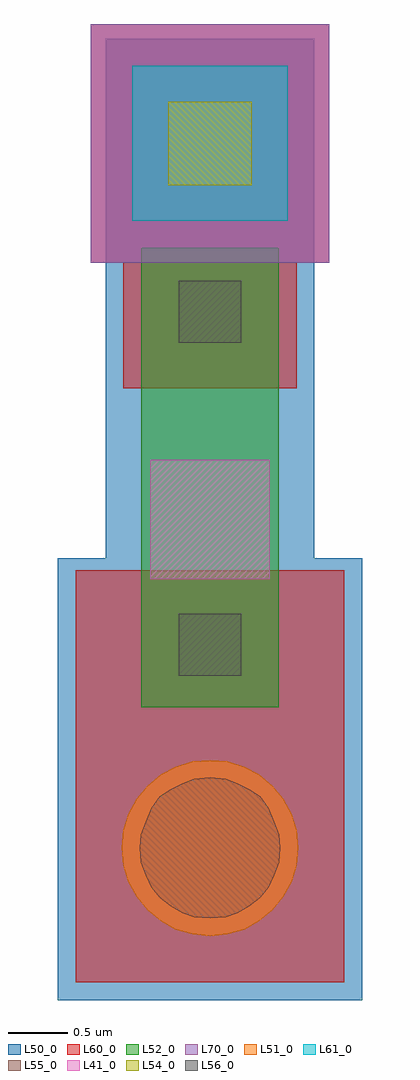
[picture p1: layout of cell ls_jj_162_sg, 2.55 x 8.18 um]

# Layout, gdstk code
import gdstk
lib = gdstk.Library(unit=1e-6, precision=1e-09)
def R(c, l, rs):  # rectangles x0, y0, x1, y1
    for r in rs: c.add(gdstk.rectangle(r[:2], r[2:], *l))
def P(c, l, *ps):  # polygons
    for p in ps: c.add(gdstk.Polygon(p, *l))
L41_0 = (41, 0)
L50_0 = (50, 0)
L51_0 = (51, 0)
L52_0 = (52, 0)
L54_0 = (54, 0)
L55_0 = (55, 0)
L56_0 = (56, 0)
L60_0 = (60, 0)
L61_0 = (61, 0)
L70_0 = (70, 0)

ls_conn_m5m6m7 = lib.new_cell('ls_conn_M5M6M7')
R(ls_conn_m5m6m7, L50_0, [(-0.5,-0.5,1.2,1.2)])
R(ls_conn_m5m6m7, L54_0, [(0,0,0.7,0.7)])
R(ls_conn_m5m6m7, L60_0, [(-0.65,-0.65,1.35,1.35)])
R(ls_conn_m5m6m7, L61_0, [(-0.3,-0.3,1,1)])
R(ls_conn_m5m6m7, L70_0, [(-0.65,-0.65,1.35,1.35)])

ls_jj_162_sg = lib.new_cell('ls_jj_162_sg')
R(ls_jj_162_sg, L41_0, [(-0.5,2.25,0.5,3.25)])
R(ls_jj_162_sg, L50_0, [(-1.275,-1.275,1.275,2.425), (-0.875,2.425,0.875,6.775)])
P(ls_jj_162_sg, L51_0, [(0,-0.74),(-0.145,-0.725),(-0.285,-0.685),(-0.41,-0.615),(-0.52,-0.525),(-0.615,-0.41),(-0.685,-0.285),(-0.725,-0.145),(-0.74,0),(-0.725,0.145),(-0.685,0.28),(-0.615,0.41),(-0.52,0.52),(-0.41,0.615),(-0.285,0.68),(-0.145,0.725),(0,0.735),(0.145,0.725),(0.285,0.68),(0.41,0.615),(0.52,0.52),(0.615,0.41),(0.685,0.28),(0.725,0.145),(0.74,0),(0.725,-0.145),(0.685,-0.285),(0.615,-0.41),(0.52,-0.525),(0.41,-0.615),(0.285,-0.685),(0.145,-0.725)])
R(ls_jj_162_sg, L52_0, [(-0.575,1.175,0.575,5.025)])
R(ls_jj_162_sg, L54_0, [(-0.35,5.55,0.35,6.25)])
P(ls_jj_162_sg, L55_0, [(0,-0.59),(-0.13,-0.58),(-0.23,-0.55),(-0.33,-0.49),(-0.42,-0.42),(-0.49,-0.33),(-0.54,-0.23),(-0.58,-0.12),(-0.59,0),(-0.58,0.11),(-0.54,0.22),(-0.49,0.33),(-0.42,0.43),(-0.33,0.49),(-0.23,0.54),(-0.13,0.58),(0,0.59),(0.13,0.58),(0.23,0.54),(0.33,0.49),(0.42,0.43),(0.49,0.33),(0.54,0.22),(0.58,0.11),(0.59,0),(0.58,-0.12),(0.54,-0.23),(0.49,-0.33),(0.42,-0.42),(0.33,-0.49),(0.23,-0.55),(0.13,-0.58)])
R(ls_jj_162_sg, L56_0, [(-0.26,1.44,0.26,1.96), (-0.26,4.23,0.26,4.75)])
R(ls_jj_162_sg, L60_0, [(-1.125,-1.125,1.125,2.325), (-0.725,3.85,0.725,6.625)])
ls_jj_162_sg.add(gdstk.Reference(ls_conn_m5m6m7, (-0.35,5.55)))

lib.write_gds('ls_jj_162_sg.gds')
